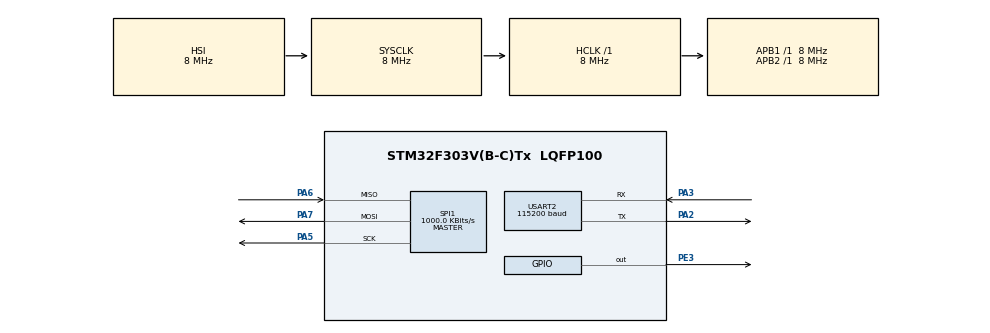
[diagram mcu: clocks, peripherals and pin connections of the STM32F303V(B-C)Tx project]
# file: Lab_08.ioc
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Mcu.Family=STM32F3
Mcu.Name=STM32F303V(B-C)Tx
Mcu.Package=LQFP100
NVIC.PriorityGroup=NVIC_PRIORITYGROUP_4
NVIC.SPI1_IRQn=true\:0\:0\:false\:false\:true\:true\:true\:true
PA2.Mode=Asynchronous
PA2.Signal=USART2_TX
PA3.Mode=Asynchronous
PA3.Signal=USART2_RX
PA5.Mode=Full_Duplex_Master
PA5.Signal=SPI1_SCK
PA6.Mode=Full_Duplex_Master
PA6.Signal=SPI1_MISO
PA7.Mode=Full_Duplex_Master
PA7.Signal=SPI1_MOSI
PE3.Signal=GPIO_Output
ProjectManager.HeapSize=0x200
ProjectManager.StackSize=0x400
ProjectManager.TargetToolchain=CMake
RCC.AHBFreq_Value=8000000
RCC.APB1Freq_Value=8000000
RCC.APB2Freq_Value=8000000
RCC.CortexFreq_Value=8000000
RCC.HSE_VALUE=8000000
RCC.HSI_VALUE=8000000
RCC.LSE_VALUE=32768
RCC.SYSCLKFreq_VALUE=8000000
SPI1.BaudRatePrescaler=SPI_BAUDRATEPRESCALER_8
SPI1.CLKPhase=SPI_PHASE_2EDGE
SPI1.CLKPolarity=SPI_POLARITY_HIGH
SPI1.CalculateBaudRate=1000.0 KBits/s
SPI1.DataSize=SPI_DATASIZE_8BIT
SPI1.Direction=SPI_DIRECTION_2LINES
SPI1.Mode=SPI_MODE_MASTER
SPI1.VirtualType=VM_MASTER
USART2.BaudRate=115200
USART2.VirtualMode-Asynchronous=VM_ASYNC
board=custom

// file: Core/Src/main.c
/* USER CODE BEGIN Header */
/**
  ******************************************************************************
  * @file           : main.c
  * @brief          : Main program body
  ******************************************************************************
  * @attention
  *
  * Copyright (c) 2026 STMicroelectronics.
  * All rights reserved.
  *
  * This software is licensed under terms that can be found in the LICENSE file
  * in the root directory of this software component.
  * If no LICENSE file comes with this software, it is provided AS-IS.
  *
  ******************************************************************************
  */
/* USER CODE END Header */
#include "main.h"

/* USER CODE BEGIN Includes */
#include "main.h"
#include "stdarg.h"
#include "stdio.h"
#include "stm32f3xx_hal.h"
#include "stm32f3xx_hal_spi.h"
#include "string.h"
#include "math.h"
#include <stdint.h>

/* USER CODE END Includes */

SPI_HandleTypeDef hspi1;

UART_HandleTypeDef huart2;

/* USER CODE BEGIN PV */
// TASK 1-------------------------------------------------------------------------
// #define GYRO_WHO_AM_I_REG   0x0F   // WHO_AM_I register address
// #define GYRO_READ_BIT       0x80   // Bit 7 = 1 means READ operation

// SPI_HandleTypeDef hspi1;
// UART_HandleTypeDef huart2;
// Gyroscope register addresses

// TASK2------------------------------------------------------------------------------
// #define GYRO_WHO_AM_I_REG   0x0F   // WHO_AM_I register
// #define GYRO_READ_BIT       0x80   // Bit 7 = 1 for READ operation
// #define CTRL_REG1           0x20   // Control register 1
// #define CTRL_REG1_VAL       0b00001111  // PD=1 (power on), X/Y/Z axes enabled
// #define TEMP_REG            0x26   // Temperature output register (I3G4250D)

// SPI_HandleTypeDef hspi1;
// UART_HandleTypeDef huart2;

// // Buffers for SPI interrupt mode
// uint8_t tx_buf[1];    // Transmit buffer (sends register address command)
// uint8_t rx_buf[1];    // Receive buffer  (receives temperature byte)

// // State flag to track where we are in the read sequence
// // 0 = just sent register address, waiting to receive
// // 1 = data received, ready to print
// volatile uint8_t spi_state = 0;

//TASK3---------------------------------------------------------------------------------

// // Gyroscope register addresses
// #define CTRL_REG1       0x0F
// #define CTRL_REG1_VAL   0b00001111 // Power on, enable X/Y/Z axes
// #define CTRL_REG4       0x23
// #define CTRL_REG4_VAL   0b00000000  // FS[1:0] = 00 => +/- 245 dps

// #define GYRO_READ_BIT   0x80        // Bit 7 = 1 for READ

// // Angular velocity output registers (low and high bytes)
// #define OUT_X_L   0x28
// #define OUT_X_H   0x29
// #define OUT_Y_L   0x2A
// #define OUT_Y_H   0x2B
// #define OUT_Z_L   0x2C
// #define OUT_Z_H   0x2D

// // Temperature register
// #define OUT_TEMP  0x26

// // Sensitivity for +/-245 dps range
// #define SENSITIVITY  0.00875f      // 8.75 mdps/LSB = 0.00875 dps/LSB

// SPI_HandleTypeDef hspi1;
// UART_HandleTypeDef huart2;

/* USER CODE END PV */

void SystemClock_Config(void);
static void MX_GPIO_Init(void);
static void MX_SPI1_Init(void);
static void MX_USART2_UART_Init(void);

/* USER CODE BEGIN 0 */

#define CTRL_REG1 0x20
#define CTRL_REG1_VAL 0b10001111 // Power on , enable X, Y, Z axes
#define CTRL_REG4 0x23
#define CTRL_REG4_VAL 0b00000000 // FS [1:0] = 00 => +/- 245 dps
#define OUT_TEMP           0x26
#define OUT_X_L            0x28
#define OUT_X_H            0x29
#define OUT_Y_L            0x2A
#define OUT_Y_H            0x2B
#define OUT_Z_L            0x2C
#define OUT_Z_H            0x2D
#define CS_LOW()  HAL_GPIO_WritePin(GPIOE, GPIO_PIN_3, GPIO_PIN_RESET)
#define CS_HIGH() HAL_GPIO_WritePin(GPIOE, GPIO_PIN_3, GPIO_PIN_SET)
int32_t x_offset = 0;
int32_t y_offset = 0;
int32_t z_offset = 0;

// Function declarations
void myPrintf(const char *fmt, ...);
void gyro_init ();
void gyro_set_ctrl_reg4 ();
void spi_write(uint8_t reg, uint8_t value);
uint8_t spi_read(uint8_t reg);
void gyro_calibrate();

//TASK2-----------------------------------------------------------------------------

// void gyro_init()
// {
//     uint8_t tx[2] = { CTRL_REG1, CTRL_REG1_VAL };

//     // CS LOW — begin SPI communication
//     HAL_GPIO_WritePin(GPIOE, GPIO_PIN_3, GPIO_PIN_RESET);

//     // Send CTRL_REG1 address + value in one transmission (polling is fine for init)
//     HAL_SPI_Transmit(&hspi1, tx, 2, HAL_MAX_DELAY);

//     // CS HIGH — end SPI communication
//     HAL_GPIO_WritePin(GPIOE, GPIO_PIN_3, GPIO_PIN_SET);
// }

// // -------------------------------------------------------
// // Starts an interrupt-based SPI read of the temperature register
// // Step 1: Send the command byte (register address + read bit)
// //         When TX is done, HAL_SPI_TxCpltCallback fires
// // -------------------------------------------------------
// void Gyro_RequestTemperature()
// {
//     tx_buf[0] = GYRO_READ_BIT | TEMP_REG;  // 0x80 | 0x26 = 0xA6 (read temp register)

//     // CS LOW — begin SPI communication
//     HAL_GPIO_WritePin(GPIOE, GPIO_PIN_3, GPIO_PIN_RESET);

//     // Send command byte in interrupt mode (non-blocking)
//     HAL_SPI_Transmit_IT(&hspi1, tx_buf, 1);

//     // Execution continues immediately — callback will fire when done
// }

// // -------------------------------------------------------
// // Callback: Called automatically when TX (transmit) is complete
// // Step 2: Now that we sent the register address,
// //         receive the temperature byte from gyroscope
// // -------------------------------------------------------
// void HAL_SPI_TxCpltCallback(SPI_HandleTypeDef *hspi)
// {
//     if (hspi->Instance == SPI1)
//     {
//         // TX done — now receive the temperature data in interrupt mode
//         HAL_SPI_Receive_IT(&hspi1, rx_buf, 1);
//       myprintf("TxCplt fired\r\n"); // debug — does TX callback fire?

//     }
// }

// // -------------------------------------------------------
// // Callback: Called automatically when RX (receive) is complete
// // Step 3: Temperature byte is now in rx_buf[0]
// //         CS HIGH to end communication, then send over UART
// // -------------------------------------------------------
// void HAL_SPI_RxCpltCallback(SPI_HandleTypeDef *hspi)
// {
//     if (hspi->Instance == SPI1)
//     {
//         HAL_GPIO_WritePin(GPIOE, GPIO_PIN_3, GPIO_PIN_SET);
//         int8_t temperature = (int8_t)rx_buf[0];

//         // Send as ASCII text with newline so Python readline() works
//         myprintf("%d\n", temperature);

//         spi_state = 1;
//     }
// }

//TASK 1-------------------------------------------------------------------------

// uint8_t Gyro_ReadRegister(uint8_t reg_addr)
// {
//     uint8_t cmd = GYRO_READ_BIT | reg_addr;  // Build command: set read bit
//     uint8_t response = 0;
//     HAL_GPIO_WritePin(GPIOE, GPIO_PIN_3, GPIO_PIN_RESET);// Pull CS LOW — selects the gyroscope, begins SPI transaction
//     HAL_SPI_Transmit(&hspi1, &cmd, 1, HAL_MAX_DELAY);// Send command byte telling gyroscope which register we want to read
//     HAL_SPI_Receive(&hspi1, &response, 1, HAL_MAX_DELAY);// Clock out a dummy byte — gyroscope sends back the register value during this
//     HAL_GPIO_WritePin(GPIOE, GPIO_PIN_3, GPIO_PIN_SET);// Pull CS HIGH — deselects gyroscope, ends SPI transaction

//     return response;
// }

/* USER CODE END 0 */

int main(void)
{

  /* MCU Configuration--------------------------------------------------------*/

  /* Reset of all peripherals, Initializes the Flash interface and the Systick. */

  HAL_Init();

  /* Configure the system clock */
  SystemClock_Config();

  /* Initialize all configured peripherals */
  MX_GPIO_Init();
  MX_SPI1_Init();
  MX_USART2_UART_Init();
  /* USER CODE BEGIN 2 */
  //TASK 1-------------------------------------------------------------------------

  // // Ensure CS is HIGH at startup (gyroscope deselected/idle)
  // HAL_GPIO_WritePin(GPIOE, GPIO_PIN_3, GPIO_PIN_SET);

  // // Wait for gyroscope to finish powering up
  // HAL_Delay(100);

  // uint8_t who_am_i = Gyro_ReadRegister(GYRO_WHO_AM_I_REG);

  // myprintf("WHO_AM_I = 0x%02X\r\n", who_am_i);
  // CS HIGH at startup — gyroscope deselected/idle
  // TASK2----------------------------------------------------------------------------
  //   HAL_GPIO_WritePin(GPIOE, GPIO_PIN_3, GPIO_PIN_SET);

  //   // Wait for gyroscope to power up
  //   HAL_Delay(100);

  //   // Power on gyroscope and enable axes
  //   gyro_init();

  //   HAL_Delay(10);  // Small delay after init before first read

  //   // Trigger the first temperature read
  //   Gyro_RequestTemperature();
  //TASK3----------------------------------------------------------------------------------

  /* USER CODE END 2 */

  /* Infinite loop */
  /* USER CODE BEGIN WHILE */

  /* USER CODE BEGIN 2 */

  gyro_init();
  gyro_set_ctrl_reg4();
  gyro_calibrate();
  /* USER CODE END 2 */

  /* Infinite loop */
  /* USER CODE BEGIN WHILE */
  while (1)
  {
    uint8_t buffer[6];
    uint8_t reg = 0x28 | 0x80 | 0x40; // OUT_X_L (0x28) + Read bit (0x80) + Auto-increment (0x40)

    // 1. Perform a Burst Read for X, Y, and Z
    CS_LOW();
    HAL_SPI_Transmit(&hspi1, &reg, 1, HAL_MAX_DELAY);
    HAL_SPI_Receive(&hspi1, buffer, 6, HAL_MAX_DELAY);
    CS_HIGH();

    // 2. Reconstruct 16-bit signed values from the buffer
    int16_t x_raw = (int16_t)((buffer[1] << 8) | buffer[0]);
    int16_t y_raw = (int16_t)((buffer[3] << 8) | buffer[2]);
    int16_t z_raw = (int16_t)((buffer[5] << 8) | buffer[4]);

    // 3. Subtract offsets and convert to Degrees Per Second (dps)
    // 0.00875 is the sensitivity for the +/- 245 dps range
    float x_dps = (x_raw - x_offset) * 0.00875f;
    float y_dps = (y_raw - y_offset) * 0.00875f;
    float z_dps = (z_raw - z_offset) * 0.00875f;

    // 4. Read Temperature separately
    int8_t temp = (int8_t)spi_read(0x26);

    // 5. Send to Python using COMMAS (not tabs!)
    myPrintf("%d,%.2f,%.2f,%.2f\r\n", temp, x_dps, y_dps, z_dps);

    HAL_Delay(10); // Faster update rate for the plot
  }

  /* USER CODE END 3 */
}

void SystemClock_Config(void)
{
  RCC_OscInitTypeDef RCC_OscInitStruct = {0};
  RCC_ClkInitTypeDef RCC_ClkInitStruct = {0};
  RCC_PeriphCLKInitTypeDef PeriphClkInit = {0};

  /** Initializes the RCC Oscillators according to the specified parameters
  * in the RCC_OscInitTypeDef structure.
  */
  RCC_OscInitStruct.OscillatorType = RCC_OSCILLATORTYPE_HSI;
  RCC_OscInitStruct.HSIState = RCC_HSI_ON;
  RCC_OscInitStruct.HSICalibrationValue = RCC_HSICALIBRATION_DEFAULT;
  RCC_OscInitStruct.PLL.PLLState = RCC_PLL_NONE;
  if (HAL_RCC_OscConfig(&RCC_OscInitStruct) != HAL_OK)
  {
    Error_Handler();
  }

  /** Initializes the CPU, AHB and APB buses clocks
  */
  RCC_ClkInitStruct.ClockType = RCC_CLOCKTYPE_HCLK|RCC_CLOCKTYPE_SYSCLK
                              |RCC_CLOCKTYPE_PCLK1|RCC_CLOCKTYPE_PCLK2;
  RCC_ClkInitStruct.SYSCLKSource = RCC_SYSCLKSOURCE_HSI;
  RCC_ClkInitStruct.AHBCLKDivider = RCC_SYSCLK_DIV1;
  RCC_ClkInitStruct.APB1CLKDivider = RCC_HCLK_DIV1;
  RCC_ClkInitStruct.APB2CLKDivider = RCC_HCLK_DIV1;

  if (HAL_RCC_ClockConfig(&RCC_ClkInitStruct, FLASH_LATENCY_0) != HAL_OK)
  {
    Error_Handler();
  }
  PeriphClkInit.PeriphClockSelection = RCC_PERIPHCLK_USART2;
  PeriphClkInit.Usart2ClockSelection = RCC_USART2CLKSOURCE_PCLK1;
  if (HAL_RCCEx_PeriphCLKConfig(&PeriphClkInit) != HAL_OK)
  {
    Error_Handler();
  }
}

static void MX_SPI1_Init(void)
{

  /* SPI1 parameter configuration*/
  hspi1.Instance = SPI1;
  hspi1.Init.Mode = SPI_MODE_MASTER;
  hspi1.Init.Direction = SPI_DIRECTION_2LINES;
  hspi1.Init.DataSize = SPI_DATASIZE_8BIT;
  hspi1.Init.CLKPolarity = SPI_POLARITY_HIGH;
  hspi1.Init.CLKPhase = SPI_PHASE_2EDGE;
  hspi1.Init.NSS = SPI_NSS_SOFT;
  hspi1.Init.BaudRatePrescaler = SPI_BAUDRATEPRESCALER_8;
  hspi1.Init.FirstBit = SPI_FIRSTBIT_MSB;
  hspi1.Init.TIMode = SPI_TIMODE_DISABLE;
  hspi1.Init.CRCCalculation = SPI_CRCCALCULATION_DISABLE;
  hspi1.Init.CRCPolynomial = 7;
  hspi1.Init.CRCLength = SPI_CRC_LENGTH_DATASIZE;
  hspi1.Init.NSSPMode = SPI_NSS_PULSE_DISABLE;
  if (HAL_SPI_Init(&hspi1) != HAL_OK)
  {
    Error_Handler();
  }

}

static void MX_USART2_UART_Init(void)
{

  huart2.Instance = USART2;
  huart2.Init.BaudRate = 115200;
  huart2.Init.WordLength = UART_WORDLENGTH_8B;
  huart2.Init.StopBits = UART_STOPBITS_1;
  huart2.Init.Parity = UART_PARITY_NONE;
  huart2.Init.Mode = UART_MODE_TX_RX;
  huart2.Init.HwFlowCtl = UART_HWCONTROL_NONE;
  huart2.Init.OverSampling = UART_OVERSAMPLING_16;
  huart2.Init.OneBitSampling = UART_ONE_BIT_SAMPLE_DISABLE;
  huart2.AdvancedInit.AdvFeatureInit = UART_ADVFEATURE_NO_INIT;
  if (HAL_UART_Init(&huart2) != HAL_OK)
  {
    Error_Handler();
  }

}

static void MX_GPIO_Init(void)
{
  GPIO_InitTypeDef GPIO_InitStruct = {0};

  /* GPIO Ports Clock Enable */
  __HAL_RCC_GPIOE_CLK_ENABLE();
  __HAL_RCC_GPIOA_CLK_ENABLE();

  /*Configure GPIO pin Output Level */
  HAL_GPIO_WritePin(GPIOE, GPIO_PIN_3, GPIO_PIN_SET);
  /*Configure GPIO pin : PE3 */
  GPIO_InitStruct.Pin = GPIO_PIN_3;
  GPIO_InitStruct.Mode = GPIO_MODE_OUTPUT_PP;
  GPIO_InitStruct.Pull = GPIO_NOPULL;
  GPIO_InitStruct.Speed = GPIO_SPEED_FREQ_LOW;
  HAL_GPIO_Init(GPIOE, &GPIO_InitStruct);

}

/* USER CODE BEGIN 4 */
void gyro_init ()
{
 uint8_t tx [2] = { CTRL_REG1 , CTRL_REG1_VAL };
 // Pull CS low to begin communication
 HAL_GPIO_WritePin (GPIOE , GPIO_PIN_3 , GPIO_PIN_RESET );

 // Send control register configuration
 HAL_SPI_Transmit (&hspi1 , tx , 2, HAL_MAX_DELAY );

 // Pull CS high to end communication
 HAL_GPIO_WritePin (GPIOE , GPIO_PIN_3 , GPIO_PIN_SET );
}

void gyro_set_ctrl_reg4 ()
{
  uint8_t tx [2] = { CTRL_REG4 , CTRL_REG4_VAL };
  HAL_GPIO_WritePin (GPIOE , GPIO_PIN_3 , GPIO_PIN_RESET );
  HAL_SPI_Transmit (& hspi1 , tx , 2, HAL_MAX_DELAY );
  HAL_GPIO_WritePin (GPIOE , GPIO_PIN_3 , GPIO_PIN_SET );
}

uint8_t spi_read(uint8_t reg)
{
    uint8_t tx[2];
    uint8_t rx[2];
    tx[0] = reg | 0x80;  // Read command (MSB = 1)

    tx[1] = 0x00;

    CS_LOW();
    HAL_SPI_TransmitReceive(&hspi1, tx, rx, 2, HAL_MAX_DELAY);
    CS_HIGH();

    return rx[1];
}

void spi_write(uint8_t reg, uint8_t value)
{
    uint8_t data[2] = {reg & 0x7F, value};  // Write command (MSB = 0)
    CS_LOW();
    HAL_SPI_Transmit(&hspi1, data, 2, HAL_MAX_DELAY);
    CS_HIGH();
}

void myPrintf(const char *fmt, ...)
{
  char buffer[256];
  va_list argument;
  va_start(argument, fmt);
  vsnprintf(buffer, sizeof(buffer), fmt, argument);
  HAL_UART_Transmit(&huart2, (uint8_t*)buffer, strlen(buffer), HAL_MAX_DELAY);
}

void gyro_calibrate()
{
    int32_t x_sum = 0, y_sum = 0, z_sum = 0;
    const int samples = 30;

    for(int i = 0; i < samples; i++)
    {
        int16_t x = (int16_t)(spi_read(OUT_X_H) << 8 | spi_read(OUT_X_L));
        int16_t y = (int16_t)(spi_read(OUT_Y_H) << 8 | spi_read(OUT_Y_L));
        int16_t z = (int16_t)(spi_read(OUT_Z_H) << 8 | spi_read(OUT_Z_L));

        x_sum += x;
        y_sum += y;
        z_sum += z;

        HAL_Delay(5);
    }

    x_offset = x_sum / samples;
    y_offset = y_sum / samples;
    z_offset = z_sum / samples;
}

/* USER CODE END 4 */

void Error_Handler(void)
{
  __disable_irq();
  while (1)
  {
  }
}
